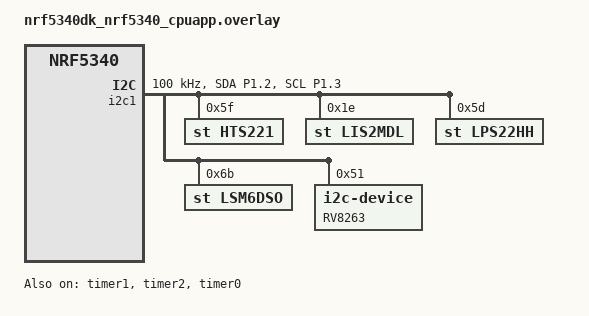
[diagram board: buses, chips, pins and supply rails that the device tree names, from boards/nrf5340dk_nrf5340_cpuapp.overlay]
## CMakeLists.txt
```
# Copyright (c)  2024 LVGL <felipe@lvgl.io>
# SPDX-License-Identifier: Apache-2.0

cmake_minimum_required(VERSION 3.20.0)

set(SHIELD adafruit_2_8_tft_touch_v2)

find_package(Zephyr REQUIRED HINTS $ENV{ZEPHYR_BASE})
project(SquareLine_Project)

set(LVGL_DIR ${ZEPHYR_LVGL_MODULE_DIR})

FILE(GLOB app_sources src/*.c src/ui/*.c src/ui/images/*.c src/ui/fonts/*.c src/ui/screens/*.c src/ui/components/*.c)
target_sources(app PRIVATE ${app_sources})
target_sources(app PRIVATE src/All_sensors/sensors.c)
target_sources(app PRIVATE src/BLE/BLE_Configuration.c)
target_sources(app PRIVATE src/Chronometer/chrono.c)
target_sources(app PRIVATE src/RTC/rtc.c)
```

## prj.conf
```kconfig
# Configuration existante (LVGL, affichage, capteurs)
CONFIG_MAIN_STACK_SIZE=16384
CONFIG_LOG=y
CONFIG_SHELL=y
CONFIG_LVGL=y
CONFIG_LV_Z_MEM_POOL_SIZE=32768
CONFIG_LV_Z_SHELL=y
CONFIG_LV_USE_MONKEY=y
CONFIG_LV_COLOR_DEPTH_32=y
CONFIG_ILI9341=y
CONFIG_DISPLAY=y
CONFIG_INPUT=y
CONFIG_SERIAL=y
CONFIG_UART_CONSOLE=y
CONFIG_LV_USE_PERF_MONITOR=y
CONFIG_LV_FONT_MONTSERRAT_16=y
CONFIG_LV_FONT_MONTSERRAT_18=y
CONFIG_LV_FONT_MONTSERRAT_20=y
CONFIG_LV_FONT_MONTSERRAT_24=y
CONFIG_LV_FONT_MONTSERRAT_12=y
CONFIG_LV_FONT_MONTSERRAT_10=y
CONFIG_LV_FONT_MONTSERRAT_32=y
CONFIG_LV_FONT_MONTSERRAT_22=y
CONFIG_LV_USE_FONT_COMPRESSED=y

# Capteurs I2C
CONFIG_I2C=y
CONFIG_SENSOR=y
CONFIG_SENSOR_LOG_LEVEL_DBG=y
CONFIG_CBPRINTF_FP_SUPPORT=y
# Ajout des pilotes spécifiques si nécessaire (exemple)
CONFIG_HTS221=y          # pour le capteur d'humidité/température
CONFIG_LIS2MDL=y       # magnétomètre
CONFIG_LPS22HH=y       # pression
CONFIG_LSM6DSO=y       # accéléromètre/gyroscope

# Timers
CONFIG_NRFX_TIMER=y
CONFIG_COUNTER=y

# Logs
CONFIG_LOG_DEFAULT_LEVEL=3
CONFIG_LOG_MODE_IMMEDIATE=y
CONFIG_INPUT_LOG_LEVEL_INF=y
CONFIG_INPUT_LOG_LEVEL_DBG=y

# GPIO (pour boutons, etc.)
CONFIG_GPIO=y
CONFIG_STDOUT_CONSOLE=y

# Pour utiliser les LEDs dans le code
CONFIG_GPIO_GET_CONFIG=y

# ---------- Configuration BLE ajoutée ----------
CONFIG_BT=y
CONFIG_BT_PERIPHERAL=y
CONFIG_BT_DEVICE_NAME="MySmartWatch"
CONFIG_BT_MAX_CONN=1
CONFIG_BT_ATT_PREPARE_COUNT=2
CONFIG_BT_L2CAP_TX_BUF_COUNT=8
CONFIG_SYSTEM_WORKQUEUE_STACK_SIZE=4096
CONFIG_BT_RX_STACK_SIZE=2048
CONFIG_BT_AUTO_PHY_UPDATE=n
CONFIG_BT_AUTO_DATA_LEN_UPDATE=n
CONFIG_BT_GATT_AUTO_RESUBSCRIBE=n
CONFIG_BT_USER_PHY_UPDATE=y
CONFIG_DK_LIBRARY=y
# -----------------------------------------------
```

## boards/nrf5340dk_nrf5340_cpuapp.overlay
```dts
/*
 * Sensors declarations
*/

&i2c1 {
	hts221: hts221@5f {
		compatible = "st,hts221";
		reg = <0x5f>;
	};
	lis2mdl: lis2mdl@1e {
		compatible = "st,lis2mdl";
		reg = <0x1e>;
	};
	lps22hh: lps22hh@5d {
		compatible = "st,lps22hh";
		reg = <0x5d>;
	};
	lsm6dso: lsm6dso@6b {
		compatible = "st,lsm6dso";
		reg = <0x6b>;
	};
	
};


/* TIMERs */
&timer1 {
    status = "okay";
};
&timer2 {
    status = "okay";
};
&timer0 {
    status = "okay";
};


/* RTC */
&pinctrl {
    i2c1_default: i2c1_default {
        group1 {
            psels = <NRF_PSEL(TWIM_SDA, 1, 2)>,
                    <NRF_PSEL(TWIM_SCL, 1, 3)>;
            bias-pull-up;
        };
    };

    /* ← état sleep obligatoire sur nRF5340 */
    i2c1_sleep: i2c1_sleep {
        group1 {
            psels = <NRF_PSEL(TWIM_SDA, 1, 2)>,
                    <NRF_PSEL(TWIM_SCL, 1, 3)>;
            low-power-enable;
        };
    };
};
&i2c1 {
    status = "okay";
    pinctrl-0 = <&i2c1_default>;
    pinctrl-1 = <&i2c1_sleep>;          /* ← index 1 pour sleep */
    pinctrl-names = "default", "sleep"; /* ← les 2 noms attendus */
    clock-frequency = <I2C_BITRATE_STANDARD>;

    rv8263: rv8263@51 {
        compatible = "i2c-device";
        reg = <0x51>;
        label = "RV8263";
    };
};
```

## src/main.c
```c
/*
 * Copyright (c) 2025 Smartwatch Project
 *
 * SPDX-License-Identifier: Apache-2.0
 */

#include <zephyr/logging/log.h>
#include <zephyr/kernel.h>
#include <zephyr/drivers/gpio.h>
#include <dk_buttons_and_leds.h>
#include <zephyr/device.h>
#include <zephyr/drivers/display.h>
#include <zephyr/input/input.h>
#include <zephyr/sys/util.h>
#include <lvgl.h>
#include "ui/ui.h"
#include "All_sensors/sensors.h"
#include <math.h>
#include <stdlib.h>
#include "BLE/BLE_Configuration.h"
#include "Chronometer/chrono.h"
#include "RTC/rtc.h"

LOG_MODULE_REGISTER(app, LOG_LEVEL_INF);

// ==================== Configuration tactile ====================
#define NEXT_X       226
#define NEXT_Y       24
#define PREV_X       226
#define PREV_Y       315
#define TOLERANCE    20

static const struct device *const touch_dev =
    DEVICE_DT_GET(DT_NODELABEL(tsc2007_adafruit_2_8_tft_touch_v2));

static struct k_sem touch_sync;

// ==================== LED BLE ====================
#define BLE_LED DK_LED2
static struct k_timer ble_led_timer;

static void ble_led_timer_handler(struct k_timer *timer)
{
    dk_set_led_off(BLE_LED);
}

void ble_led_blink(void)
{
    dk_set_led_on(BLE_LED);
    k_timer_start(&ble_led_timer, K_MSEC(100), K_NO_WAIT);
}

// ==================== LED Chronomètre ====================
#define CHRONO_LED DK_LED1
static struct k_timer chrono_led_timer;

static void chrono_led_timer_handler(struct k_timer *timer)
{
    dk_set_led_off(CHRONO_LED);
}

static void chrono_led_blink(void)
{
    dk_set_led_on(CHRONO_LED);
    k_timer_start(&chrono_led_timer, K_MSEC(100), K_NO_WAIT);
}

// ==================== Gestion de veille ====================
static struct k_timer inactivity_timer;
static bool system_sleeping = false;
static bool need_sleep = false;
static struct k_sem wake_sem;
static struct k_sem ble_wake_sem;
static const struct device *display_dev;

static void reset_inactivity_timer(void)
{
    k_timer_stop(&inactivity_timer);
    k_timer_start(&inactivity_timer, K_SECONDS(60), K_NO_WAIT);
}

static void inactivity_timer_handler(struct k_timer *timer)
{
    need_sleep = true;
}

// ==================== Détection orientation pour réveil ====================
// Seuils à ajuster selon votre montre
#define ACCEL_X_MIN -0.13f
#define ACCEL_X_MAX  0.41f
#define ACCEL_Y_MIN -9.75f
#define ACCEL_Y_MAX  -7.76f
#define ACCEL_Z_MIN   2.38f
#define ACCEL_Z_MAX   4.38f

static bool is_watch_facing_user(void)
{
    float ax, ay, az;
    sensors_get_accel(&ax, &ay, &az);

    LOG_INF("Accel orientation check: X=%.2f, Y=%.2f, Z=%.2f", ax, ay, az);

    return (ax >= ACCEL_X_MIN && ax <= ACCEL_X_MAX &&
            ay >= ACCEL_Y_MIN && ay <= ACCEL_Y_MAX &&
            az >= ACCEL_Z_MIN && az <= ACCEL_Z_MAX);
}

static void enter_sleep(void)
{
    LOG_INF("Entering sleep mode (inactivity)");

    if (display_dev) {
        display_blanking_on(display_dev);
    }
    system_sleeping = true;
    need_sleep = false;

    while (system_sleeping) {
        int ret = k_sem_take(&wake_sem, K_SECONDS(1));
        if (ret == 0) {
            LOG_INF("Wake by button or touch");
            break;
        } else {
            sensors_update();           // température, humidité, pression
            sensors_update_motion();    // accéléromètre, gyroscope, magnétomètre
            if (is_watch_facing_user()) {
                LOG_INF("Wake by orientation (watch facing user)");
                break;
            }
        }
    }

    if (display_dev) {
        display_blanking_off(display_dev);
    }
    system_sleeping = false;
    LOG_INF("Woke up from sleep");

    k_sem_give(&ble_wake_sem);
    reset_inactivity_timer();
}

// Callback pour les boutons
static void button_changed(uint32_t button_state, uint32_t has_changed)
{
    k_sem_give(&wake_sem);
    if (!system_sleeping) {
        reset_inactivity_timer();
    }
}

// ==================== Gestion tactile ====================
static struct {
    size_t x;
    size_t y;
    bool pressed;
} touch_point;

static void touch_event_callback(struct input_event *evt, void *user_data)
{
    if (evt->code == INPUT_ABS_X) {
        touch_point.x = evt->value;
        LOG_INF("Touch X = %d", evt->value);
    }
    if (evt->code == INPUT_ABS_Y) {
        touch_point.y = evt->value;
        LOG_INF("Touch Y = %d", evt->value);
    }
    if (evt->code == INPUT_BTN_TOUCH) {
        touch_point.pressed = evt->value;
        LOG_INF("Touch pressed = %d", evt->value);
        if (evt->value) {
            if (system_sleeping) {
                k_sem_give(&wake_sem);
            } else {
                reset_inactivity_timer();
            }
        }
    }
    if (evt->sync) {
        LOG_INF("Touch sync received");
        k_sem_give(&touch_sync);
    }
}

INPUT_CALLBACK_DEFINE(touch_dev, touch_event_callback, NULL);

// ==================== Écrans et index ====================
static lv_obj_t *screens[4];
static int screen_index = 0;

// ==================== Timer Zephyr pour acquisition capteurs ====================
static struct k_timer acq_timer;
static volatile bool acq_flag = false;
static uint32_t epoch_s = 0;

static void timer_handler(struct k_timer *timer)
{
    epoch_s++;
    acq_flag = true;
}

static void timer_init(void)
{
    k_timer_init(&acq_timer, timer_handler, NULL);
    k_timer_start(&acq_timer, K_SECONDS(1), K_SECONDS(1));
    LOG_INF("Timer démarré : période 1s");
}

// ==================== Mise à jour des capteurs sur l'interface ====================
static void update_ui_sensors(void)
{
    float temp = sensors_get_temperature();
    float hum  = sensors_get_humidity();
    float press = sensors_get_pressure();
    float mx, my, mz;
    sensors_get_magn(&mx, &my, &mz);
    float ax, ay, az;
    sensors_get_accel(&ax, &ay, &az);
    float gx, gy, gz;
    sensors_get_gyro(&gx, &gy, &gz);

    rtc_time_t now;
    int rtc_ok = rtc_get_time(&now);
    if (rtc_ok == 0) {
        LOG_INF("=== Capteurs (t=%u s, %02d:%02d:%02d) ===",
                epoch_s, now.hours, now.minutes, now.seconds);
    } else {
        LOG_INF("=== Capteurs (t=%u s, RTC indisponible) ===", epoch_s);
    }

    LOG_INF("Température : %.1f °C", (double)temp);
    LOG_INF("Humidité    : %.1f %%", (double)hum);
    LOG_INF("Pression    : %.1f hPa", (double)press);
    LOG_INF("Magnétomètre: X=%.2f  Y=%.2f  Z=%.2f", (double)mx, (double)my, (double)mz);
    LOG_INF("Accéléromètre: X=%.2f m/s²  Y=%.2f m/s²  Z=%.2f m/s²", (double)ax, (double)ay, (double)az);
    LOG_INF("Gyroscope    : X=%.2f rad/s  Y=%.2f rad/s  Z=%.2f rad/s", (double)gx, (double)gy, (double)gz);

    char buf[32];

    snprintf(buf, sizeof(buf), "%.1f°C", (double)temp);
    if (ui_DegreCeluis) lv_label_set_text(ui_DegreCeluis, buf);
    if (ui_DegreCeluis2) lv_label_set_text(ui_DegreCeluis2, buf);

    snprintf(buf, sizeof(buf), "%.1f%%", (double)hum);
    if (ui_Label9) lv_label_set_text(ui_Label9, buf);

    snprintf(buf, sizeof(buf), "%.1f hPa", (double)press);
    if (ui_Pressure) lv_label_set_text(ui_Pressure, buf);

    float heading = atan2f(-my, mx) * 180.0f / 3.14159f;
    if (heading < 0) heading += 360.0f;
    snprintf(buf, sizeof(buf), "%.0f °", (double)heading);
    if (ui_degreDirection) lv_label_set_text(ui_degreDirection, buf);

    const char *cardinal = sensors_heading_to_cardinal(heading);
    if (ui_direction) lv_label_set_text(ui_direction, cardinal);

    snprintf(buf, sizeof(buf), "%.2f", (double)ax);
    if (ui_valueOfX) lv_label_set_text(ui_valueOfX, buf);
    snprintf(buf, sizeof(buf), "%.2f", (double)ay);
    if (ui_valueOfY) lv_label_set_text(ui_valueOfY, buf);
    snprintf(buf, sizeof(buf), "%.2f", (double)az);
    if (ui_valueOfZ) lv_label_set_text(ui_valueOfZ, buf);

    snprintf(buf, sizeof(buf), "%.2f", (double)gx);
    if (ui_valueOfX2) lv_label_set_text(ui_valueOfX2, buf);
    snprintf(buf, sizeof(buf), "%.2f", (double)gy);
    if (ui_valueOfY2) lv_label_set_text(ui_valueOfY2, buf);
    snprintf(buf, sizeof(buf), "%.2f", (double)gz);
    if (ui_valueOfZ2) lv_label_set_text(ui_valueOfZ2, buf);
}

/* ==================== Tâche BLE ==================== */
#define BLE_STACK_SIZE 1024
K_THREAD_STACK_DEFINE(ble_stack_area, BLE_STACK_SIZE);
static struct k_thread ble_thread;

static void ble_thread_fn(void *p1, void *p2, void *p3)
{
    while (1) {
        if (system_sleeping) {
            k_sem_take(&ble_wake_sem, K_FOREVER);
        }

        k_sleep(K_SECONDS(2));

        if (system_sleeping) {
            continue;
        }

        float temp = sensors_get_temperature();
        float hum  = sensors_get_humidity();

        struct ble_env_payload payload;
        payload.epoch_s = (uint32_t)(k_uptime_get() / 1000);
        payload.temp_cC = (int16_t)(temp * 100.0f);
        payload.hum_cpc = (uint16_t)(hum * 100.0f);

        ble_led_blink();
        ble_send_env_payload(&payload);
        ble_update_advertising(&payload);
    }
}

// ==================== Fonctions de rappel pour les boutons du chronomètre ====================
static void chrono_start_clicked(lv_event_t *e)
{
    chrono_start();
}

static void chrono_stop_clicked(lv_event_t *e)
{
    chrono_stop();
}

static void chrono_reset_clicked(lv_event_t *e)
{
    chrono_reset();
}

// ==================== Mise à jour LVGL de l'affichage du chronomètre ====================
static void chrono_update_display(lv_timer_t *timer)
{
    int h, m, s;
    chrono_get_time(&h, &m, &s);

    char buf[3];
    snprintf(buf, sizeof(buf), "%02d", h);
    if (ui_LabelHH) lv_label_set_text(ui_LabelHH, buf);
    else LOG_ERR("chrono_update: ui_LabelHH NULL");

    snprintf(buf, sizeof(buf), "%02d", m);
    if (ui_LabelMM) lv_label_set_text(ui_LabelMM, buf);
    else LOG_ERR("chrono_update: ui_LabelMM NULL");

    snprintf(buf, sizeof(buf), "%02d", s);
    if (ui_LabelSS) lv_label_set_text(ui_LabelSS, buf);
    else LOG_ERR("chrono_update: ui_LabelSS NULL");
}

// ==================== Mise à jour LVGL de l'heure / date ====================
static bool rtc_available = false;

static void update_rtc_display(lv_timer_t *timer)
{
    if (!rtc_available) return;

    rtc_time_t now;

    if (rtc_get_time(&now) != 0) {
        LOG_ERR("Impossible de lire le RTC");
        return;
    }

    char buf[3];

    // ----- Écran Home -----
    snprintf(buf, sizeof(buf), "%02d", now.hours);
    if (ui_LabelHour) lv_label_set_text(ui_LabelHour, buf);
    snprintf(buf, sizeof(buf), "%02d", now.minutes);
    if (ui_LabelMinute) lv_label_set_text(ui_LabelMinute, buf);
    snprintf(buf, sizeof(buf), "%02d", now.days);
    if (ui_LabelDay) lv_label_set_text(ui_LabelDay, buf);
    snprintf(buf, sizeof(buf), "%02d", now.months);
    if (ui_LabelMonth) lv_label_set_text(ui_LabelMonth, buf);
    snprintf(buf, sizeof(buf), "%02d", now.years);
    if (ui_LabelYear) lv_label_set_text(ui_LabelYear, buf);

    // ----- Écran Weather -----
    snprintf(buf, sizeof(buf), "%02d", now.hours);
    if (ui_LabelHour2) lv_label_set_text(ui_LabelHour2, buf);
    snprintf(buf, sizeof(buf), "%02d", now.minutes);
    if (ui_LabelMinute2) lv_label_set_text(ui_LabelMinute2, buf);
    snprintf(buf, sizeof(buf), "%02d", now.days);
    if (ui_LabelDay2) lv_label_set_text(ui_LabelDay2, buf);
    snprintf(buf, sizeof(buf), "%02d", now.months);
    if (ui_LabelMonth2) lv_label_set_text(ui_LabelMonth2, buf);
    snprintf(buf, sizeof(buf), "%02d", now.years);
    if (ui_LabelYear2) lv_label_set_text(ui_LabelYear2, buf);

    // ----- Écran Direction / Accél/Gyro -----
    snprintf(buf, sizeof(buf), "%02d", now.hours);
    if (ui_LabelHour3) lv_label_set_text(ui_LabelHour3, buf);
    snprintf(buf, sizeof(buf), "%02d", now.minutes);
    if (ui_LabelMinute3) lv_label_set_text(ui_LabelMinute3, buf);
    snprintf(buf, sizeof(buf), "%02d", now.days);
    if (ui_LabelDay3) lv_label_set_text(ui_LabelDay3, buf);
    snprintf(buf, sizeof(buf), "%02d", now.months);
    if (ui_LabelMonth3) lv_label_set_text(ui_LabelMonth3, buf);
    snprintf(buf, sizeof(buf), "%02d", now.years);
    if (ui_LabelYear3) lv_label_set_text(ui_LabelYear3, buf);
}

// ==================== Programme principal ====================
int main(void)
{
    // ---- Initialisation de l'affichage ----
    display_dev = DEVICE_DT_GET(DT_CHOSEN(zephyr_display));
    if (!device_is_ready(display_dev)) {
        LOG_ERR("Display device not ready");
        return 0;
    }
    display_blanking_off(display_dev);

    ui_init();
    screens[0] = ui_HomePage;
    screens[1] = ui_Weather;
    screens[2] = ui_DirectionMaAxAndGy;
    screens[3] = ui_Chronometre;

    if (sensors_init() != 0) {
        LOG_ERR("Sensor initialization failed (continuing anyway)");
    }
    
    // ---- Initialisation des LEDs ----
    if (dk_leds_init() != 0) {
        LOG_ERR("LEDs init failed");
    } else {
        LOG_INF("LEDs initialized");
        // Test des deux LEDs
        dk_set_led_on(DK_LED1);
        dk_set_led_on(DK_LED2);
        k_sleep(K_MSEC(500));
        dk_set_led_off(DK_LED1);
        dk_set_led_off(DK_LED2);
        LOG_INF("LED1 and LED2 tested");
    }

    // ---- Timer pour la LED BLE ----
    k_timer_init(&ble_led_timer, ble_led_timer_handler, NULL);

    // ---- Timer pour la LED Chronomètre ----
    k_timer_init(&chrono_led_timer, chrono_led_timer_handler, NULL);
    chrono_set_tick_callback(chrono_led_blink);

    // ---- Gestion de veille ----
    k_sem_init(&wake_sem, 0, 1);
    k_sem_init(&ble_wake_sem, 0, 1);
    k_timer_init(&inactivity_timer, inactivity_timer_handler, NULL);
    reset_inactivity_timer();

    // ---- Initialisation des boutons ----
    if (dk_buttons_init(button_changed) != 0) {
        LOG_ERR("Button init failed");
    } else {
        LOG_INF("Buttons initialized");
    }

    // ---- Initialisation du chronomètre ----
    chrono_init();

    // ---- Initialisation du RTC ----
    if (rtc_init() == 0) {
        rtc_available = true;
        LOG_INF("RTC initialisé");
        rtc_time_t initial_time = {
            .seconds = 0,
            .minutes = 15,
            .hours   = 10,
            .days    = 3,
            .weekday = 3,
            .months  = 4,
            .years   = 26
        };
        if (rtc_set_time(&initial_time) == 0) {
            LOG_INF("Heure réglée : %02d/%02d/20%02d %02d:%02d:%02d",
                    initial_time.days, initial_time.months, initial_time.years,
                    initial_time.hours, initial_time.minutes, initial_time.seconds);
        } else {
            LOG_WRN("Échec du réglage initial de l'heure");
        }
    } else {
        LOG_WRN("RTC non disponible, horloge non affichée");
    }

    // ---- Initialisation du tactile ----
    if (!device_is_ready(touch_dev)) {
        LOG_ERR("Touch device %s not ready", touch_dev->name);
    } else {
        LOG_INF("Touch device %s ready", touch_dev->name);
    }
    k_sem_init(&touch_sync, 0, 1);

    // ---- Initialisation du timer Zephyr pour l'acquisition ----
    timer_init();

    // ---- Initialisation BLE ----
    if (ble_init() != 0) {
        LOG_ERR("BLE initialization failed");
    } else {
        LOG_INF("BLE initialized");
    }

    // ---- Création du thread BLE ----
    k_thread_create(&ble_thread, ble_stack_area, BLE_STACK_SIZE,
                    ble_thread_fn, NULL, NULL, NULL,
                    4, 0, K_NO_WAIT);
    k_thread_name_set(&ble_thread, "ble");

    // ---- Timers LVGL pour le chronomètre et l'heure ----
    lv_timer_t *chrono_timer = lv_timer_create(chrono_update_display, 1000, NULL);
    lv_timer_ready(chrono_timer);

    if (rtc_available) {
        lv_timer_t *rtc_timer = lv_timer_create(update_rtc_display, 1000, NULL);
        lv_timer_ready(rtc_timer);
    }

    // ---- Événements des boutons du chronomètre ----
    if (ui_ButtonStart) lv_obj_add_event_cb(ui_ButtonStart, chrono_start_clicked, LV_EVENT_CLICKED, NULL);
    if (ui_ButtonStop)  lv_obj_add_event_cb(ui_ButtonStop,  chrono_stop_clicked,  LV_EVENT_CLICKED, NULL);
    if (ui_ButtonReset) lv_obj_add_event_cb(ui_ButtonReset, chrono_reset_clicked, LV_EVENT_CLICKED, NULL);

    LOG_INF("Entering main loop");

    while (1) {
        if (need_sleep && !system_sleeping) {
            enter_sleep();
        }

        if (acq_flag && !system_sleeping) {
            acq_flag = false;
            sensors_update();           // environmental
            sensors_update_motion();    // motion (accel, gyro, magn);
            update_ui_sensors();
        }

        lv_timer_handler();

        if (k_sem_take(&touch_sync, K_NO_WAIT) == 0) {
            size_t x = touch_point.x;
            size_t y = touch_point.y;
            bool pressed = touch_point.pressed;

            LOG_INF("Touch event: pressed=%d, x=%d, y=%d", pressed, x, y);

            if (pressed) {
                if (abs((int)x - NEXT_X) < TOLERANCE && abs((int)y - NEXT_Y) < TOLERANCE) {
                    LOG_INF("NEXT zone detected -> switching to next screen");
                    screen_index = (screen_index + 1) % 4;
                    lv_scr_load_anim(screens[screen_index], LV_SCR_LOAD_ANIM_MOVE_LEFT, 300, 0, false);
                }
                else if (abs((int)x - PREV_X) < TOLERANCE && abs((int)y - PREV_Y) < TOLERANCE) {
                    LOG_INF("PREV zone detected -> switching to previous screen");
                    screen_index = (screen_index - 1 + 4) % 4;
                    lv_scr_load_anim(screens[screen_index], LV_SCR_LOAD_ANIM_MOVE_RIGHT, 300, 0, false);
                } else {
                    LOG_INF("Touch at (%d,%d) does not match any zone", x, y);
                }
            }
        }

        k_sleep(K_MSEC(10));
    }

    return 0;
}
```

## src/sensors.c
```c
#include <zephyr/kernel.h>
#include <zephyr/device.h>
#include <zephyr/drivers/sensor.h>
#include <zephyr/drivers/i2c.h>
#include <zephyr/logging/log.h>
#include <math.h>

LOG_MODULE_REGISTER(sensors, LOG_LEVEL_INF);

static const struct device *hts221;
static const struct device *lis3mdl;
static const struct device *lps25hb;
static const struct device *lsm6ds0;

static struct sensor_value temp_val, hum_val, press_val;
static struct sensor_value magn_xyz[3];
static struct sensor_value accel_xyz[3];

static void scan_i2c_bus(const struct device *i2c_dev)
{
    if (!i2c_dev) {
        LOG_ERR("I2C device is NULL, cannot scan");
        return;
    }

    LOG_INF("Scanning I2C bus %s...", i2c_dev->name);
    for (uint8_t addr = 0x08; addr < 0x78; addr++) {
        struct i2c_msg msg = {
            .buf = NULL,
            .len = 0,
            .flags = I2C_MSG_WRITE | I2C_MSG_STOP
        };
        int ret = i2c_transfer(i2c_dev, &msg, 1, addr);
        if (ret == 0) {
            LOG_INF("Found device at 0x%02X", addr);
        }
    }
}

int sensors_init(void)
{
    int ret;

    hts221 = DEVICE_DT_GET(DT_NODELABEL(hts221));
    lis3mdl = DEVICE_DT_GET(DT_NODELABEL(lis3mdl));
    lps25hb = DEVICE_DT_GET(DT_NODELABEL(lps25hb));
    lsm6ds0 = DEVICE_DT_GET(DT_NODELABEL(lsm6ds0));

    LOG_INF("HTS221 device pointer: %p", hts221);
    LOG_INF("LIS3MDL device pointer: %p", lis3mdl);
    LOG_INF("LPS25HB device pointer: %p", lps25hb);
    LOG_INF("LSM6DS0 device pointer: %p", lsm6ds0);

    if (!device_is_ready(hts221)) {
        LOG_ERR("HTS221 not ready");
    } else {
        LOG_INF("HTS221 is ready");
    }
    if (!device_is_ready(lis3mdl)) {
        LOG_ERR("LIS3MDL not ready");
    } else {
        LOG_INF("LIS3MDL is ready");
    }
    if (!device_is_ready(lps25hb)) {
        LOG_ERR("LPS25HB not ready");
    } else {
        LOG_INF("LPS25HB is ready");
    }
    if (!device_is_ready(lsm6ds0)) {
        LOG_ERR("LSM6DS0 not ready");
    } else {
        LOG_INF("LSM6DS0 is ready");
    }

    // Récupérer le bus I2C à partir du premier capteur prêt
    const struct device *i2c_bus = NULL;
    if (device_is_ready(hts221)) {
        i2c_bus = DEVICE_DT_GET(DT_BUS(DT_NODELABEL(hts221)));
    } else if (device_is_ready(lis3mdl)) {
        i2c_bus = DEVICE_DT_GET(DT_BUS(DT_NODELABEL(lis3mdl)));
    } else if (device_is_ready(lps25hb)) {
        i2c_bus = DEVICE_DT_GET(DT_BUS(DT_NODELABEL(lps25hb)));
    } else if (device_is_ready(lsm6ds0)) {
        i2c_bus = DEVICE_DT_GET(DT_BUS(DT_NODELABEL(lsm6ds0)));
    }

    if (i2c_bus && device_is_ready(i2c_bus)) {
        scan_i2c_bus(i2c_bus);
    } else {
        LOG_ERR("No I2C bus ready for scanning");
    }

    // Test de lecture pour chaque capteur
    if (device_is_ready(hts221)) {
        ret = sensor_sample_fetch(hts221);
        if (ret == 0) {
            sensor_channel_get(hts221, SENSOR_CHAN_AMBIENT_TEMP, &temp_val);
            sensor_channel_get(hts221, SENSOR_CHAN_HUMIDITY, &hum_val);
            LOG_INF("Test HTS221: temp=%d.%d, hum=%d.%d",
                    temp_val.val1, temp_val.val2, hum_val.val1, hum_val.val2);
        } else {
            LOG_ERR("Test HTS221 fetch failed: %d", ret);
        }
    }

    if (device_is_ready(lps25hb)) {
        ret = sensor_sample_fetch(lps25hb);
        if (ret == 0) {
            sensor_channel_get(lps25hb, SENSOR_CHAN_PRESS, &press_val);
            LOG_INF("Test LPS25HB: press=%d.%d", press_val.val1, press_val.val2);
        } else {
            LOG_ERR("Test LPS25HB fetch failed: %d", ret);
        }
    }

    if (device_is_ready(lis3mdl)) {
        ret = sensor_sample_fetch(lis3mdl);
        if (ret == 0) {
            sensor_channel_get(lis3mdl, SENSOR_CHAN_MAGN_XYZ, magn_xyz);
            LOG_INF("Test LIS3MDL: mag x=%d.%d, y=%d.%d, z=%d.%d",
                    magn_xyz[0].val1, magn_xyz[0].val2,
                    magn_xyz[1].val1, magn_xyz[1].val2,
                    magn_xyz[2].val1, magn_xyz[2].val2);
        } else {
            LOG_ERR("Test LIS3MDL fetch failed: %d", ret);
        }
    }

    if (device_is_ready(lsm6ds0)) {
        ret = sensor_sample_fetch(lsm6ds0);
        if (ret == 0) {
            sensor_channel_get(lsm6ds0, SENSOR_CHAN_ACCEL_XYZ, accel_xyz);
            LOG_INF("Test LSM6DS0: acc x=%d.%d, y=%d.%d, z=%d.%d",
                    accel_xyz[0].val1, accel_xyz[0].val2,
                    accel_xyz[1].val1, accel_xyz[1].val2,
                    accel_xyz[2].val1, accel_xyz[2].val2);
        } else {
            LOG_ERR("Test LSM6DS0 fetch failed: %d", ret);
        }
    }

    return 0;
}

void sensors_update(void)
{
    int ret;

    if (device_is_ready(hts221)) {
        ret = sensor_sample_fetch(hts221);
        if (ret < 0) {
            LOG_ERR("HTS221 fetch failed: %d", ret);
        } else {
            sensor_channel_get(hts221, SENSOR_CHAN_AMBIENT_TEMP, &temp_val);
            sensor_channel_get(hts221, SENSOR_CHAN_HUMIDITY, &hum_val);
        }
    }

    if (device_is_ready(lps25hb)) {
        ret = sensor_sample_fetch(lps25hb);
        if (ret < 0) {
            LOG_ERR("LPS25HB fetch failed: %d", ret);
        } else {
            sensor_channel_get(lps25hb, SENSOR_CHAN_PRESS, &press_val);
        }
    }

    if (device_is_ready(lis3mdl)) {
        ret = sensor_sample_fetch(lis3mdl);
        if (ret < 0) {
            LOG_ERR("LIS3MDL fetch failed: %d", ret);
        } else {
            sensor_channel_get(lis3mdl, SENSOR_CHAN_MAGN_XYZ, magn_xyz);
        }
    }

    if (device_is_ready(lsm6ds0)) {
        ret = sensor_sample_fetch(lsm6ds0);
        if (ret < 0) {
            LOG_ERR("LSM6DS0 fetch failed: %d", ret);
        } else {
            sensor_channel_get(lsm6ds0, SENSOR_CHAN_ACCEL_XYZ, accel_xyz);
        }
    }
}

float sensors_get_temperature(void)
{
    return sensor_value_to_double(&temp_val);
}

float sensors_get_humidity(void)
{
    return sensor_value_to_double(&hum_val);
}

float sensors_get_pressure(void)
{
    return sensor_value_to_double(&press_val);
}

void sensors_get_magn(float *x, float *y, float *z)
{
    *x = sensor_value_to_double(&magn_xyz[0]);
    *y = sensor_value_to_double(&magn_xyz[1]);
    *z = sensor_value_to_double(&magn_xyz[2]);
}

void sensors_get_accel(float *x, float *y, float *z)
{
    *x = sensor_value_to_double(&accel_xyz[0]);
    *y = sensor_value_to_double(&accel_xyz[1]);
    *z = sensor_value_to_double(&accel_xyz[2]);
}
```

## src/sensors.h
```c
#ifndef SENSORS_H
#define SENSORS_H

int sensors_init(void);
void sensors_update(void);
float sensors_get_temperature(void);
float sensors_get_humidity(void);
float sensors_get_pressure(void);
void sensors_get_magn(float *x, float *y, float *z);
void sensors_get_accel(float *x, float *y, float *z);

#endif
```
